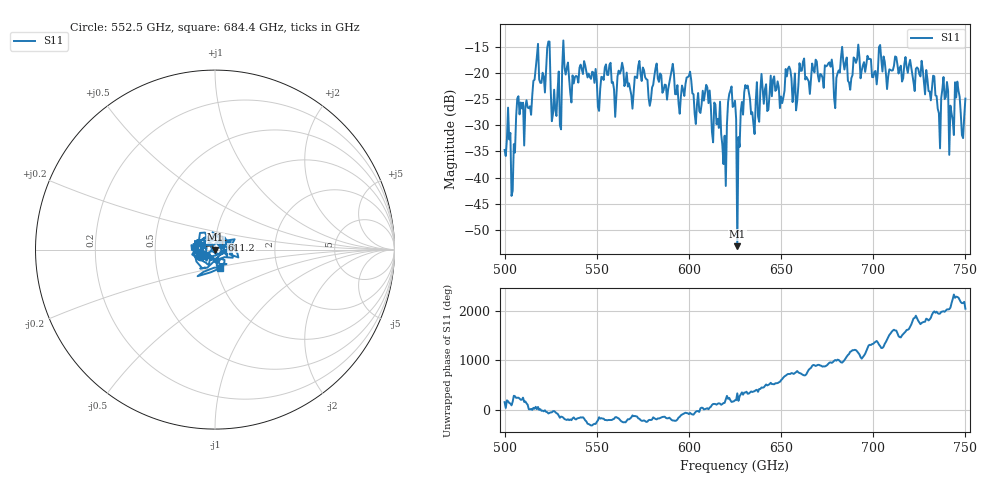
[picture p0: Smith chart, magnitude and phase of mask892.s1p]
!Created with skrf (http://scikit-rf.org).
# GHz S MA R 50.0
!freq magS11 angS11
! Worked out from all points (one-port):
!   401 points, 500 GHz to 750 GHz, reference 50 ohm
!   lowest |S11| = -53.1 dB at 626.2 GHz (marker M1), VSWR 1.00, Z = 50.2 - j0.0721 ohm
!   |S11| at or under -10 dB: start of sweep to end of sweep
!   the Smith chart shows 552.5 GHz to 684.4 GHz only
!   S11 on the Smith chart (normalised r, x): 552.5 GHz: 0.84, -0.06; 611.2 GHz: 1.07, +0.12; 684.4 GHz: 1.04, -0.22
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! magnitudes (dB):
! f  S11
! 500 GHz  -34.7
! 504.4 GHz  -42.6
! 507.5 GHz  -24.5
! 513.8 GHz  -26.4
! 516.9 GHz  -19.2
! 523.8 GHz  -14.0
! 526.9 GHz  -23.2
! 531.2 GHz  -18.9
! 552.5 GHz  -20.8
! 562.5 GHz  -20.2
! 593.8 GHz  -22.4
! 600 GHz  -20.6
! 611.2 GHz  -23.4
! 618.8 GHz  -37.4
! 623.8 GHz  -26.5
! 625 GHz  -25.3
! 626.2 GHz  -53.1
! 631.2 GHz  -22.9
! 635 GHz  -29.7
! 656.2 GHz  -25.6
! 684.4 GHz  -19.4
! 687.5 GHz  -23.2
! 718.8 GHz  -20.0
! 735 GHz  -26.9
! 739.4 GHz  -24.6
! 742.5 GHz  -27.7
! 745.6 GHz  -21.7
! 750 GHz  -24.9
